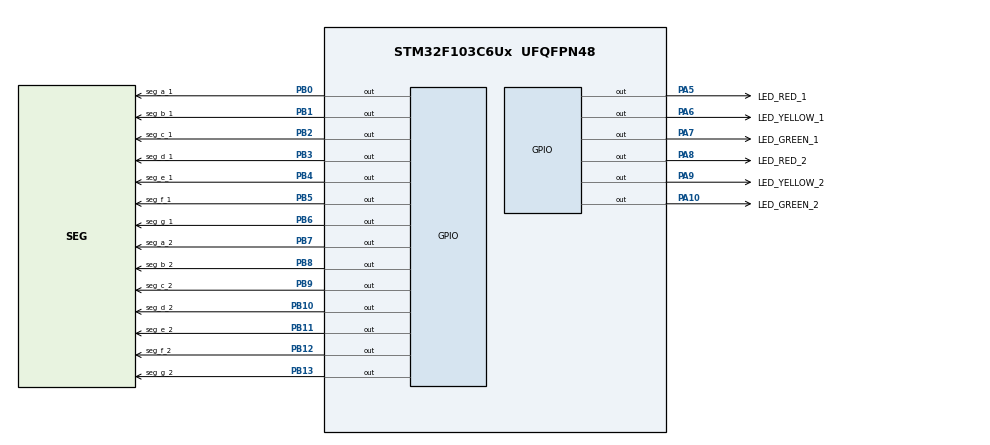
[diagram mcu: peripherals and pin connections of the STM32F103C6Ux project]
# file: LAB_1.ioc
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Mcu.Family=STM32F1
Mcu.Name=STM32F103C6Ux
Mcu.Package=UFQFPN48
NVIC.PriorityGroup=NVIC_PRIORITYGROUP_4
PA10.GPIO_Label=LED_GREEN_2
PA10.Signal=GPIO_Output
PA5.GPIO_Label=LED_RED_1
PA5.Signal=GPIO_Output
PA6.GPIO_Label=LED_YELLOW_1
PA6.Signal=GPIO_Output
PA7.GPIO_Label=LED_GREEN_1
PA7.Signal=GPIO_Output
PA8.GPIO_Label=LED_RED_2
PA8.Signal=GPIO_Output
PA9.GPIO_Label=LED_YELLOW_2
PA9.Signal=GPIO_Output
PB0.GPIO_Label=seg_a_1
PB0.Signal=GPIO_Output
PB1.GPIO_Label=seg_b_1
PB1.Signal=GPIO_Output
PB10.GPIO_Label=seg_d_2
PB10.Signal=GPIO_Output
PB11.GPIO_Label=seg_e_2
PB11.Signal=GPIO_Output
PB12.GPIO_Label=seg_f_2
PB12.Signal=GPIO_Output
PB13.GPIO_Label=seg_g_2
PB13.Signal=GPIO_Output
PB2.GPIO_Label=seg_c_1
PB2.Signal=GPIO_Output
PB3.GPIO_Label=seg_d_1
PB3.Signal=GPIO_Output
PB4.GPIO_Label=seg_e_1
PB4.Signal=GPIO_Output
PB5.GPIO_Label=seg_f_1
PB5.Signal=GPIO_Output
PB6.GPIO_Label=seg_g_1
PB6.Signal=GPIO_Output
PB7.GPIO_Label=seg_a_2
PB7.Signal=GPIO_Output
PB8.GPIO_Label=seg_b_2
PB8.Signal=GPIO_Output
PB9.GPIO_Label=seg_c_2
PB9.Signal=GPIO_Output
ProjectManager.HeapSize=0x200
ProjectManager.StackSize=0x400
ProjectManager.TargetToolchain=STM32CubeIDE
RCC.APB1Freq_Value=8000000
RCC.APB2Freq_Value=8000000
board=custom

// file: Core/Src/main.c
/* USER CODE BEGIN Header */
/**
  ******************************************************************************
  * @file           : main.c
  * @course			: MPU - MCU
  * @lab number		: 1
  * @exercises		: 1 to 5
  * @brief          : traffic light + 7-segment led
  ******************************************************************************
  * @attention
  *
  * Copyright (c) 2025 STMicroelectronics.
  * All rights reserved.
  *
  * This software is licensed under terms that can be found in the LICENSE file
  * in the root directory of this software component.
  * If no LICENSE file comes with this software, it is provided AS-IS.
  *
  ******************************************************************************
  */
/* USER CODE END Header */
#include "main.h"

/* USER CODE BEGIN PTD */
typedef enum {
	RED,
	YELLOW,
	GREEN
} lightState;
/* USER CODE END PTD */

void SystemClock_Config(void);
static void MX_GPIO_Init(void);

/* USER CODE BEGIN 0 */
void test() {
	HAL_GPIO_WritePin(LED_RED_1_GPIO_Port, LED_RED_1_Pin, 0);
	HAL_GPIO_WritePin(LED_YELLOW_1_GPIO_Port, LED_YELLOW_1_Pin, 1);
	HAL_Delay(2000);

	HAL_GPIO_WritePin(LED_RED_1_GPIO_Port, LED_RED_1_Pin, 1);
	HAL_GPIO_WritePin(LED_YELLOW_1_GPIO_Port, LED_YELLOW_1_Pin, 0);
	HAL_Delay(2000);
}
void ex1() {
	static uint8_t counter = 2;
	static uint8_t first_run = 1;

	if (first_run) {
	  HAL_GPIO_WritePin(LED_RED_1_GPIO_Port, LED_RED_1_Pin, 0);				// Init: LED_RED ON
	  HAL_GPIO_WritePin(LED_YELLOW_1_GPIO_Port, LED_YELLOW_1_Pin, 1);		// Init: LED_YELLOW OFF
	  first_run = 0;
	}
	if (counter == 0) {
	  HAL_GPIO_TogglePin(LED_RED_1_GPIO_Port, LED_RED_1_Pin);
	  HAL_GPIO_TogglePin(LED_YELLOW_1_GPIO_Port, LED_YELLOW_1_Pin);
	  counter = 2;
	}
	counter--;
	HAL_Delay(1000);
}
void ex2() {
	  static uint8_t counter = 10;

	  if (counter == 10) {
		  HAL_GPIO_WritePin(LED_RED_1_GPIO_Port, LED_RED_1_Pin, 0);				// Init: LED_RED ON
		  HAL_GPIO_WritePin(LED_YELLOW_1_GPIO_Port, LED_YELLOW_1_Pin, 1);		// Init: LED_YELLOW OFF
		  HAL_GPIO_WritePin(LED_GREEN_1_GPIO_Port, LED_GREEN_1_Pin, 1);	    	// Init: LED_GREEN OFF
	  }
	  else if (counter == 5) {
		  HAL_GPIO_WritePin(LED_RED_1_GPIO_Port, LED_RED_1_Pin, 1);
		  HAL_GPIO_WritePin(LED_GREEN_1_GPIO_Port, LED_GREEN_1_Pin, 0);
	  }
	  else if (counter == 2) {
		  HAL_GPIO_WritePin(LED_GREEN_1_GPIO_Port, LED_GREEN_1_Pin, 1);
		  HAL_GPIO_WritePin(LED_YELLOW_1_GPIO_Port, LED_YELLOW_1_Pin, 0);
	  }

	  counter--;
	  if (counter == 0) {
		  counter = 10;
	  }
	  HAL_Delay(1000);
}
void ex3() {
	static uint8_t counter = 10;

	if (counter == 10) {
		HAL_GPIO_WritePin(LED_RED_1_GPIO_Port, LED_RED_1_Pin, 1);
		HAL_GPIO_WritePin(LED_YELLOW_1_GPIO_Port, LED_YELLOW_1_Pin, 0);
		HAL_GPIO_WritePin(LED_GREEN_1_GPIO_Port, LED_GREEN_1_Pin, 0);

		HAL_GPIO_WritePin(LED_RED_2_GPIO_Port, LED_RED_2_Pin, 0);
		HAL_GPIO_WritePin(LED_YELLOW_2_GPIO_Port, LED_YELLOW_2_Pin, 0);
		HAL_GPIO_WritePin(LED_GREEN_2_GPIO_Port, LED_GREEN_2_Pin, 1);
	}
	else if (counter == 7) {
		HAL_GPIO_WritePin(LED_YELLOW_2_GPIO_Port, LED_YELLOW_2_Pin, 1);
		HAL_GPIO_WritePin(LED_GREEN_2_GPIO_Port, LED_GREEN_2_Pin, 0);
	}
	else if (counter == 5) {
		HAL_GPIO_WritePin(LED_RED_1_GPIO_Port, LED_RED_1_Pin, 0);
		HAL_GPIO_WritePin(LED_GREEN_1_GPIO_Port, LED_GREEN_1_Pin, 1);

		HAL_GPIO_WritePin(LED_RED_2_GPIO_Port, LED_RED_2_Pin, 1);
		HAL_GPIO_WritePin(LED_YELLOW_2_GPIO_Port, LED_YELLOW_2_Pin, 0);
	}
	else if (counter == 2) {
		HAL_GPIO_WritePin(LED_YELLOW_1_GPIO_Port, LED_YELLOW_1_Pin, 1);
		HAL_GPIO_WritePin(LED_GREEN_1_GPIO_Port, LED_GREEN_1_Pin, 0);
	}
	counter--;
	if (counter == 0) {
	  counter = 10;
	}
	HAL_Delay(1000);
}
void display7SEG_1(int8_t num) {
	switch (num) {
	case 0:
		HAL_GPIO_WritePin(seg_a_1_GPIO_Port, seg_a_1_Pin, 0);
		HAL_GPIO_WritePin(seg_b_1_GPIO_Port, seg_b_1_Pin, 0);
		HAL_GPIO_WritePin(seg_c_1_GPIO_Port, seg_c_1_Pin, 0);
		HAL_GPIO_WritePin(seg_d_1_GPIO_Port, seg_d_1_Pin, 0);
		HAL_GPIO_WritePin(seg_e_1_GPIO_Port, seg_e_1_Pin, 0);
		HAL_GPIO_WritePin(seg_f_1_GPIO_Port, seg_f_1_Pin, 0);
		HAL_GPIO_WritePin(seg_g_1_GPIO_Port, seg_g_1_Pin, 1);
		break;
	case 1:
		HAL_GPIO_WritePin(seg_a_1_GPIO_Port, seg_a_1_Pin, 1);
		HAL_GPIO_WritePin(seg_b_1_GPIO_Port, seg_b_1_Pin, 0);
		HAL_GPIO_WritePin(seg_c_1_GPIO_Port, seg_c_1_Pin, 0);
		HAL_GPIO_WritePin(seg_d_1_GPIO_Port, seg_d_1_Pin, 1);
		HAL_GPIO_WritePin(seg_e_1_GPIO_Port, seg_e_1_Pin, 1);
		HAL_GPIO_WritePin(seg_f_1_GPIO_Port, seg_f_1_Pin, 1);
		HAL_GPIO_WritePin(seg_g_1_GPIO_Port, seg_g_1_Pin, 1);
		break;
	case 2:
		HAL_GPIO_WritePin(seg_a_1_GPIO_Port, seg_a_1_Pin, 0);
		HAL_GPIO_WritePin(seg_b_1_GPIO_Port, seg_b_1_Pin, 0);
		HAL_GPIO_WritePin(seg_c_1_GPIO_Port, seg_c_1_Pin, 1);
		HAL_GPIO_WritePin(seg_d_1_GPIO_Port, seg_d_1_Pin, 0);
		HAL_GPIO_WritePin(seg_e_1_GPIO_Port, seg_e_1_Pin, 0);
		HAL_GPIO_WritePin(seg_f_1_GPIO_Port, seg_f_1_Pin, 1);
		HAL_GPIO_WritePin(seg_g_1_GPIO_Port, seg_g_1_Pin, 0);
		break;
	case 3:
		HAL_GPIO_WritePin(seg_a_1_GPIO_Port, seg_a_1_Pin, 0);
		HAL_GPIO_WritePin(seg_b_1_GPIO_Port, seg_b_1_Pin, 0);
		HAL_GPIO_WritePin(seg_c_1_GPIO_Port, seg_c_1_Pin, 0);
		HAL_GPIO_WritePin(seg_d_1_GPIO_Port, seg_d_1_Pin, 0);
		HAL_GPIO_WritePin(seg_e_1_GPIO_Port, seg_e_1_Pin, 1);
		HAL_GPIO_WritePin(seg_f_1_GPIO_Port, seg_f_1_Pin, 1);
		HAL_GPIO_WritePin(seg_g_1_GPIO_Port, seg_g_1_Pin, 0);
		break;
	case 4:
		HAL_GPIO_WritePin(seg_a_1_GPIO_Port, seg_a_1_Pin, 1);
		HAL_GPIO_WritePin(seg_b_1_GPIO_Port, seg_b_1_Pin, 0);
		HAL_GPIO_WritePin(seg_c_1_GPIO_Port, seg_c_1_Pin, 0);
		HAL_GPIO_WritePin(seg_d_1_GPIO_Port, seg_d_1_Pin, 1);
		HAL_GPIO_WritePin(seg_e_1_GPIO_Port, seg_e_1_Pin, 1);
		HAL_GPIO_WritePin(seg_f_1_GPIO_Port, seg_f_1_Pin, 0);
		HAL_GPIO_WritePin(seg_g_1_GPIO_Port, seg_g_1_Pin, 0);
		break;
	case 5:
		HAL_GPIO_WritePin(seg_a_1_GPIO_Port, seg_a_1_Pin, 0);
		HAL_GPIO_WritePin(seg_b_1_GPIO_Port, seg_b_1_Pin, 1);
		HAL_GPIO_WritePin(seg_c_1_GPIO_Port, seg_c_1_Pin, 0);
		HAL_GPIO_WritePin(seg_d_1_GPIO_Port, seg_d_1_Pin, 0);
		HAL_GPIO_WritePin(seg_e_1_GPIO_Port, seg_e_1_Pin, 1);
		HAL_GPIO_WritePin(seg_f_1_GPIO_Port, seg_f_1_Pin, 0);
		HAL_GPIO_WritePin(seg_g_1_GPIO_Port, seg_g_1_Pin, 0);
		break;
	case 6:
		HAL_GPIO_WritePin(seg_a_1_GPIO_Port, seg_a_1_Pin, 0);
		HAL_GPIO_WritePin(seg_b_1_GPIO_Port, seg_b_1_Pin, 1);
		HAL_GPIO_WritePin(seg_c_1_GPIO_Port, seg_c_1_Pin, 0);
		HAL_GPIO_WritePin(seg_d_1_GPIO_Port, seg_d_1_Pin, 0);
		HAL_GPIO_WritePin(seg_e_1_GPIO_Port, seg_e_1_Pin, 0);
		HAL_GPIO_WritePin(seg_f_1_GPIO_Port, seg_f_1_Pin, 0);
		HAL_GPIO_WritePin(seg_g_1_GPIO_Port, seg_g_1_Pin, 0);
		break;
	case 7:
		HAL_GPIO_WritePin(seg_a_1_GPIO_Port, seg_a_1_Pin, 0);
		HAL_GPIO_WritePin(seg_b_1_GPIO_Port, seg_b_1_Pin, 0);
		HAL_GPIO_WritePin(seg_c_1_GPIO_Port, seg_c_1_Pin, 0);
		HAL_GPIO_WritePin(seg_d_1_GPIO_Port, seg_d_1_Pin, 1);
		HAL_GPIO_WritePin(seg_e_1_GPIO_Port, seg_e_1_Pin, 1);
		HAL_GPIO_WritePin(seg_f_1_GPIO_Port, seg_f_1_Pin, 1);
		HAL_GPIO_WritePin(seg_g_1_GPIO_Port, seg_g_1_Pin, 1);
		break;
	case 8:
		HAL_GPIO_WritePin(seg_a_1_GPIO_Port, seg_a_1_Pin, 0);
		HAL_GPIO_WritePin(seg_b_1_GPIO_Port, seg_b_1_Pin, 0);
		HAL_GPIO_WritePin(seg_c_1_GPIO_Port, seg_c_1_Pin, 0);
		HAL_GPIO_WritePin(seg_d_1_GPIO_Port, seg_d_1_Pin, 0);
		HAL_GPIO_WritePin(seg_e_1_GPIO_Port, seg_e_1_Pin, 0);
		HAL_GPIO_WritePin(seg_f_1_GPIO_Port, seg_f_1_Pin, 0);
		HAL_GPIO_WritePin(seg_g_1_GPIO_Port, seg_g_1_Pin, 0);
		break;
	case 9:
		HAL_GPIO_WritePin(seg_a_1_GPIO_Port, seg_a_1_Pin, 0);
		HAL_GPIO_WritePin(seg_b_1_GPIO_Port, seg_b_1_Pin, 0);
		HAL_GPIO_WritePin(seg_c_1_GPIO_Port, seg_c_1_Pin, 0);
		HAL_GPIO_WritePin(seg_d_1_GPIO_Port, seg_d_1_Pin, 0);
		HAL_GPIO_WritePin(seg_e_1_GPIO_Port, seg_e_1_Pin, 1);
		HAL_GPIO_WritePin(seg_f_1_GPIO_Port, seg_f_1_Pin, 0);
		HAL_GPIO_WritePin(seg_g_1_GPIO_Port, seg_g_1_Pin, 0);
		break;
	default:
		HAL_GPIO_WritePin(seg_a_1_GPIO_Port, seg_a_1_Pin, 1);
		HAL_GPIO_WritePin(seg_b_1_GPIO_Port, seg_b_1_Pin, 1);
		HAL_GPIO_WritePin(seg_c_1_GPIO_Port, seg_c_1_Pin, 1);
		HAL_GPIO_WritePin(seg_d_1_GPIO_Port, seg_d_1_Pin, 1);
		HAL_GPIO_WritePin(seg_e_1_GPIO_Port, seg_e_1_Pin, 1);
		HAL_GPIO_WritePin(seg_f_1_GPIO_Port, seg_f_1_Pin, 1);
		HAL_GPIO_WritePin(seg_g_1_GPIO_Port, seg_g_1_Pin, 1);
	}
}
void display7SEG_2(int8_t num) {
	switch (num) {
	case 0:
		HAL_GPIO_WritePin(seg_a_2_GPIO_Port, seg_a_2_Pin, 0);
		HAL_GPIO_WritePin(seg_b_2_GPIO_Port, seg_b_2_Pin, 0);
		HAL_GPIO_WritePin(seg_c_2_GPIO_Port, seg_c_2_Pin, 0);
		HAL_GPIO_WritePin(seg_d_2_GPIO_Port, seg_d_2_Pin, 0);
		HAL_GPIO_WritePin(seg_e_2_GPIO_Port, seg_e_2_Pin, 0);
		HAL_GPIO_WritePin(seg_f_2_GPIO_Port, seg_f_2_Pin, 0);
		HAL_GPIO_WritePin(seg_g_2_GPIO_Port, seg_g_2_Pin, 1);
		break;
	case 1:
		HAL_GPIO_WritePin(seg_a_2_GPIO_Port, seg_a_2_Pin, 1);
		HAL_GPIO_WritePin(seg_b_2_GPIO_Port, seg_b_2_Pin, 0);
		HAL_GPIO_WritePin(seg_c_2_GPIO_Port, seg_c_2_Pin, 0);
		HAL_GPIO_WritePin(seg_d_2_GPIO_Port, seg_d_2_Pin, 1);
		HAL_GPIO_WritePin(seg_e_2_GPIO_Port, seg_e_2_Pin, 1);
		HAL_GPIO_WritePin(seg_f_2_GPIO_Port, seg_f_2_Pin, 1);
		HAL_GPIO_WritePin(seg_g_2_GPIO_Port, seg_g_2_Pin, 1);
		break;
	case 2:
		HAL_GPIO_WritePin(seg_a_2_GPIO_Port, seg_a_2_Pin, 0);
		HAL_GPIO_WritePin(seg_b_2_GPIO_Port, seg_b_2_Pin, 0);
		HAL_GPIO_WritePin(seg_c_2_GPIO_Port, seg_c_2_Pin, 1);
		HAL_GPIO_WritePin(seg_d_2_GPIO_Port, seg_d_2_Pin, 0);
		HAL_GPIO_WritePin(seg_e_2_GPIO_Port, seg_e_2_Pin, 0);
		HAL_GPIO_WritePin(seg_f_2_GPIO_Port, seg_f_2_Pin, 1);
		HAL_GPIO_WritePin(seg_g_2_GPIO_Port, seg_g_2_Pin, 0);
		break;
	case 3:
		HAL_GPIO_WritePin(seg_a_2_GPIO_Port, seg_a_2_Pin, 0);
		HAL_GPIO_WritePin(seg_b_2_GPIO_Port, seg_b_2_Pin, 0);
		HAL_GPIO_WritePin(seg_c_2_GPIO_Port, seg_c_2_Pin, 0);
		HAL_GPIO_WritePin(seg_d_2_GPIO_Port, seg_d_2_Pin, 0);
		HAL_GPIO_WritePin(seg_e_2_GPIO_Port, seg_e_2_Pin, 1);
		HAL_GPIO_WritePin(seg_f_2_GPIO_Port, seg_f_2_Pin, 1);
		HAL_GPIO_WritePin(seg_g_2_GPIO_Port, seg_g_2_Pin, 0);
		break;
	case 4:
		HAL_GPIO_WritePin(seg_a_2_GPIO_Port, seg_a_2_Pin, 1);
		HAL_GPIO_WritePin(seg_b_2_GPIO_Port, seg_b_2_Pin, 0);
		HAL_GPIO_WritePin(seg_c_2_GPIO_Port, seg_c_2_Pin, 0);
		HAL_GPIO_WritePin(seg_d_2_GPIO_Port, seg_d_2_Pin, 1);
		HAL_GPIO_WritePin(seg_e_2_GPIO_Port, seg_e_2_Pin, 1);
		HAL_GPIO_WritePin(seg_f_2_GPIO_Port, seg_f_2_Pin, 0);
		HAL_GPIO_WritePin(seg_g_2_GPIO_Port, seg_g_2_Pin, 0);
		break;
	case 5:
		HAL_GPIO_WritePin(seg_a_2_GPIO_Port, seg_a_2_Pin, 0);
		HAL_GPIO_WritePin(seg_b_2_GPIO_Port, seg_b_2_Pin, 1);
		HAL_GPIO_WritePin(seg_c_2_GPIO_Port, seg_c_2_Pin, 0);
		HAL_GPIO_WritePin(seg_d_2_GPIO_Port, seg_d_2_Pin, 0);
		HAL_GPIO_WritePin(seg_e_2_GPIO_Port, seg_e_2_Pin, 1);
		HAL_GPIO_WritePin(seg_f_2_GPIO_Port, seg_f_2_Pin, 0);
		HAL_GPIO_WritePin(seg_g_2_GPIO_Port, seg_g_2_Pin, 0);
		break;
	case 6:
		HAL_GPIO_WritePin(seg_a_2_GPIO_Port, seg_a_2_Pin, 0);
		HAL_GPIO_WritePin(seg_b_2_GPIO_Port, seg_b_2_Pin, 1);
		HAL_GPIO_WritePin(seg_c_2_GPIO_Port, seg_c_2_Pin, 0);
		HAL_GPIO_WritePin(seg_d_2_GPIO_Port, seg_d_2_Pin, 0);
		HAL_GPIO_WritePin(seg_e_2_GPIO_Port, seg_e_2_Pin, 0);
		HAL_GPIO_WritePin(seg_f_2_GPIO_Port, seg_f_2_Pin, 0);
		HAL_GPIO_WritePin(seg_g_2_GPIO_Port, seg_g_2_Pin, 0);
		break;
	case 7:
		HAL_GPIO_WritePin(seg_a_2_GPIO_Port, seg_a_2_Pin, 0);
		HAL_GPIO_WritePin(seg_b_2_GPIO_Port, seg_b_2_Pin, 0);
		HAL_GPIO_WritePin(seg_c_2_GPIO_Port, seg_c_2_Pin, 0);
		HAL_GPIO_WritePin(seg_d_2_GPIO_Port, seg_d_2_Pin, 1);
		HAL_GPIO_WritePin(seg_e_2_GPIO_Port, seg_e_2_Pin, 1);
		HAL_GPIO_WritePin(seg_f_2_GPIO_Port, seg_f_2_Pin, 1);
		HAL_GPIO_WritePin(seg_g_2_GPIO_Port, seg_g_2_Pin, 1);
		break;
	case 8:
		HAL_GPIO_WritePin(seg_a_2_GPIO_Port, seg_a_2_Pin, 0);
		HAL_GPIO_WritePin(seg_b_2_GPIO_Port, seg_b_2_Pin, 0);
		HAL_GPIO_WritePin(seg_c_2_GPIO_Port, seg_c_2_Pin, 0);
		HAL_GPIO_WritePin(seg_d_2_GPIO_Port, seg_d_2_Pin, 0);
		HAL_GPIO_WritePin(seg_e_2_GPIO_Port, seg_e_2_Pin, 0);
		HAL_GPIO_WritePin(seg_f_2_GPIO_Port, seg_f_2_Pin, 0);
		HAL_GPIO_WritePin(seg_g_2_GPIO_Port, seg_g_2_Pin, 0);
		break;
	case 9:
		HAL_GPIO_WritePin(seg_a_2_GPIO_Port, seg_a_2_Pin, 0);
		HAL_GPIO_WritePin(seg_b_2_GPIO_Port, seg_b_2_Pin, 0);
		HAL_GPIO_WritePin(seg_c_2_GPIO_Port, seg_c_2_Pin, 0);
		HAL_GPIO_WritePin(seg_d_2_GPIO_Port, seg_d_2_Pin, 0);
		HAL_GPIO_WritePin(seg_e_2_GPIO_Port, seg_e_2_Pin, 1);
		HAL_GPIO_WritePin(seg_f_2_GPIO_Port, seg_f_2_Pin, 0);
		HAL_GPIO_WritePin(seg_g_2_GPIO_Port, seg_g_2_Pin, 0);
		break;
	default:
		HAL_GPIO_WritePin(seg_a_2_GPIO_Port, seg_a_2_Pin, 1);
		HAL_GPIO_WritePin(seg_b_2_GPIO_Port, seg_b_2_Pin, 1);
		HAL_GPIO_WritePin(seg_c_2_GPIO_Port, seg_c_2_Pin, 1);
		HAL_GPIO_WritePin(seg_d_2_GPIO_Port, seg_d_2_Pin, 1);
		HAL_GPIO_WritePin(seg_e_2_GPIO_Port, seg_e_2_Pin, 1);
		HAL_GPIO_WritePin(seg_f_2_GPIO_Port, seg_f_2_Pin, 1);
		HAL_GPIO_WritePin(seg_g_2_GPIO_Port, seg_g_2_Pin, 1);
	}
}
void ex4() {
	 static int8_t counter = 10;
	 if (counter >= 10) counter = 0;
	 display7SEG_1(counter++);
	 HAL_Delay(1000);
}
void ex5() {
	static int8_t count_1 = 4;
	static int8_t count_2 = 2;
	static lightState state_1 = RED;		// Red first
	static lightState state_2 = GREEN;		// Green first

	if (count_1 < 0) {
		if (state_1 == RED) {
			count_1 = 2;
			state_1 = GREEN;
		}
		else if (state_1 == GREEN) {
			count_1 = 1;
			state_1 = YELLOW;
		}
		else if (state_1 == YELLOW) {
			count_1 = 4;
			state_1 = RED;
		}
	}

	if (count_2 < 0) {
		if (state_2 == GREEN) {
			count_2 = 1;
			state_2 = YELLOW;
		}
		else if (state_2 == YELLOW) {
			count_2 = 4;
			state_2 = RED;
		}
		else if (state_2 == RED) {
			count_2 = 2;
			state_2 = GREEN;
		}
	}
	display7SEG_1(count_1--);
	display7SEG_2(count_2--);
	ex3();
}
/* USER CODE END 0 */

int main(void)
{

  /* MCU Configuration--------------------------------------------------------*/

  /* Reset of all peripherals, Initializes the Flash interface and the Systick. */
  HAL_Init();

  /* Configure the system clock */
  SystemClock_Config();

  /* Initialize all configured peripherals */
  MX_GPIO_Init();

  /* Infinite loop */
  /* USER CODE BEGIN WHILE */
  while (1)
  {
	ex1();

    /* USER CODE END WHILE */

  }
}

void SystemClock_Config(void)
{
  RCC_OscInitTypeDef RCC_OscInitStruct = {0};
  RCC_ClkInitTypeDef RCC_ClkInitStruct = {0};

  /** Initializes the RCC Oscillators according to the specified parameters
  * in the RCC_OscInitTypeDef structure.
  */
  RCC_OscInitStruct.OscillatorType = RCC_OSCILLATORTYPE_HSI;
  RCC_OscInitStruct.HSIState = RCC_HSI_ON;
  RCC_OscInitStruct.HSICalibrationValue = RCC_HSICALIBRATION_DEFAULT;
  RCC_OscInitStruct.PLL.PLLState = RCC_PLL_NONE;
  if (HAL_RCC_OscConfig(&RCC_OscInitStruct) != HAL_OK)
  {
    Error_Handler();
  }

  /** Initializes the CPU, AHB and APB buses clocks
  */
  RCC_ClkInitStruct.ClockType = RCC_CLOCKTYPE_HCLK|RCC_CLOCKTYPE_SYSCLK
                              |RCC_CLOCKTYPE_PCLK1|RCC_CLOCKTYPE_PCLK2;
  RCC_ClkInitStruct.SYSCLKSource = RCC_SYSCLKSOURCE_HSI;
  RCC_ClkInitStruct.AHBCLKDivider = RCC_SYSCLK_DIV1;
  RCC_ClkInitStruct.APB1CLKDivider = RCC_HCLK_DIV1;
  RCC_ClkInitStruct.APB2CLKDivider = RCC_HCLK_DIV1;

  if (HAL_RCC_ClockConfig(&RCC_ClkInitStruct, FLASH_LATENCY_0) != HAL_OK)
  {
    Error_Handler();
  }
}

static void MX_GPIO_Init(void)
{
  GPIO_InitTypeDef GPIO_InitStruct = {0};

  /* GPIO Ports Clock Enable */
  __HAL_RCC_GPIOA_CLK_ENABLE();
  __HAL_RCC_GPIOB_CLK_ENABLE();

  /*Configure GPIO pin Output Level */
  HAL_GPIO_WritePin(GPIOA, LED_RED_1_Pin|LED_YELLOW_1_Pin|LED_GREEN_1_Pin|LED_RED_2_Pin
                          |LED_YELLOW_2_Pin|LED_GREEN_2_Pin, GPIO_PIN_RESET);

  /*Configure GPIO pin Output Level */
  HAL_GPIO_WritePin(GPIOB, seg_a_1_Pin|seg_b_1_Pin|seg_c_1_Pin|seg_d_2_Pin
                          |seg_e_2_Pin|seg_f_2_Pin|seg_g_2_Pin|seg_d_1_Pin
                          |seg_e_1_Pin|seg_f_1_Pin|seg_g_1_Pin|seg_a_2_Pin
                          |seg_b_2_Pin|seg_c_2_Pin, GPIO_PIN_RESET);

  /*Configure GPIO pins : LED_RED_1_Pin LED_YELLOW_1_Pin LED_GREEN_1_Pin LED_RED_2_Pin
                           LED_YELLOW_2_Pin LED_GREEN_2_Pin */
  GPIO_InitStruct.Pin = LED_RED_1_Pin|LED_YELLOW_1_Pin|LED_GREEN_1_Pin|LED_RED_2_Pin
                          |LED_YELLOW_2_Pin|LED_GREEN_2_Pin;
  GPIO_InitStruct.Mode = GPIO_MODE_OUTPUT_PP;
  GPIO_InitStruct.Pull = GPIO_NOPULL;
  GPIO_InitStruct.Speed = GPIO_SPEED_FREQ_LOW;
  HAL_GPIO_Init(GPIOA, &GPIO_InitStruct);

  /*Configure GPIO pins : seg_a_1_Pin seg_b_1_Pin seg_c_1_Pin seg_d_2_Pin
                           seg_e_2_Pin seg_f_2_Pin seg_g_2_Pin seg_d_1_Pin
                           seg_e_1_Pin seg_f_1_Pin seg_g_1_Pin seg_a_2_Pin
                           seg_b_2_Pin seg_c_2_Pin */
  GPIO_InitStruct.Pin = seg_a_1_Pin|seg_b_1_Pin|seg_c_1_Pin|seg_d_2_Pin
                          |seg_e_2_Pin|seg_f_2_Pin|seg_g_2_Pin|seg_d_1_Pin
                          |seg_e_1_Pin|seg_f_1_Pin|seg_g_1_Pin|seg_a_2_Pin
                          |seg_b_2_Pin|seg_c_2_Pin;
  GPIO_InitStruct.Mode = GPIO_MODE_OUTPUT_PP;
  GPIO_InitStruct.Pull = GPIO_NOPULL;
  GPIO_InitStruct.Speed = GPIO_SPEED_FREQ_LOW;
  HAL_GPIO_Init(GPIOB, &GPIO_InitStruct);

}

void Error_Handler(void)
{
  __disable_irq();
  while (1)
  {
  }
}
